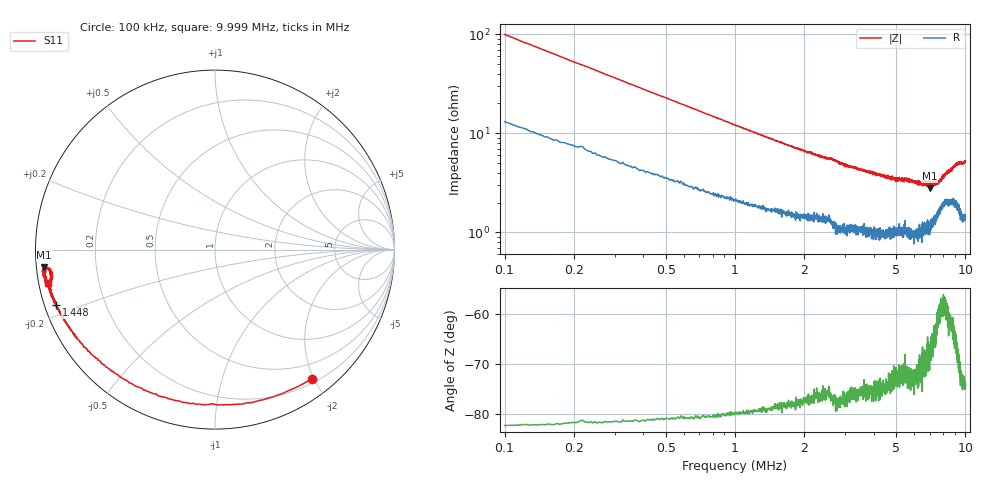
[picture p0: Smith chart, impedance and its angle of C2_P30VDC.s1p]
# HZ S RI R 50
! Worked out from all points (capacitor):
!   2020 points, 100 kHz to 9.999 MHz, reference 50 ohm
!   read as one part to ground: C = 15.1 nF near 149 kHz
!   lowest |Z| = 2.79 ohm at 7.008 MHz (marker M1)
!   S11 on the Smith chart (normalised r, x): 100 kHz: 0.26, -1.97; 1.448 MHz: 0.03, -0.17; 9.999 MHz: 0.03, -0.10
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100000  0.5381 -0.72
134321  0.3489 -0.8107
163739  0.2022 -0.8526
188254  0.0908 -0.864
237284  -0.0897 -0.8601
281411  -0.2253 -0.8398
320635  -0.3189 -0.8132
369665  -0.415 -0.7701
423598  -0.5 -0.7261
472628  -0.5617 -0.6872
541270  -0.6232 -0.6375
619718  -0.6816 -0.5885
786420  -0.7641 -0.5007
1041376  -0.8329 -0.4067
1340459  -0.8744 -0.3331
1448325  -0.8834 -0.3099
2031782  -0.9178 -0.2366
2576015  -0.9247 -0.204
2816262  -0.9393 -0.1912
3816474  -0.9527 -0.1503
5052030  -0.9532 -0.1246
6287586  -0.9555 -0.1124
7008327  -0.9523 -0.0983
7528045  -0.9365 -0.1071
8194853  -0.9156 -0.1259
8763601  -0.9107 -0.1439
9381379  -0.9222 -0.1715
9999157  -0.9279 -0.1877
